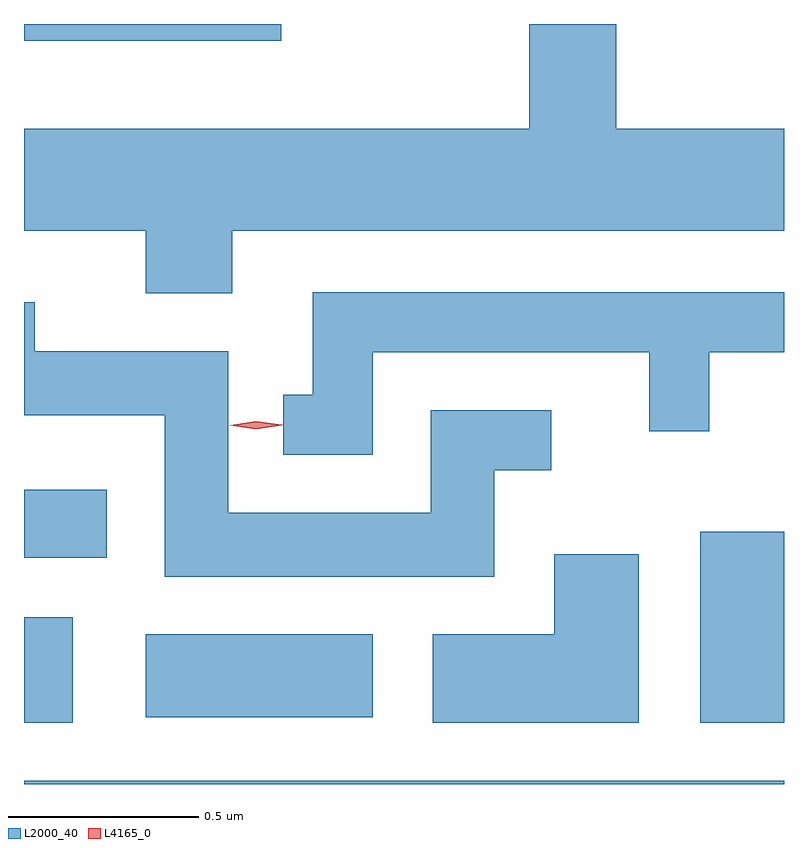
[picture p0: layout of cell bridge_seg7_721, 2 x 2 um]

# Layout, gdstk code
import gdstk
lib = gdstk.Library(unit=1e-6, precision=1e-09)
def R(c, l, rs):  # rectangles x0, y0, x1, y1
    for r in rs: c.add(gdstk.rectangle(r[:2], r[2:], *l))
def P(c, l, *ps):  # polygons
    for p in ps: c.add(gdstk.Polygon(p, *l))
L2000_40 = (2000, 40)
L4165_0 = (4165, 0)

bridge_seg7_721 = lib.new_cell('bridge_seg7_721')
R(bridge_seg7_721, L2000_40, [(857.251,1721.74,859.251,1721.749), (857.251,1721.901,857.379,1722.179), (859.031,1721.901,859.251,1722.404), (857.571,1721.916,858.169,1722.134), (857.251,1722.336,857.469,1722.514), (857.251,1723.696,857.928,1723.74)])
P(bridge_seg7_721, L2000_40, [(857.799,1723.196),(859.251,1723.196),(859.251,1723.464),(858.809,1723.464),(858.809,1723.74),(858.581,1723.74),(858.581,1723.464),(857.251,1723.464),(857.251,1723.196),(857.571,1723.196),(857.571,1723.031),(857.799,1723.031)],
  [(858.169,1722.876),(858.896,1722.876),(858.896,1722.668),(859.054,1722.668),(859.054,1722.876),(859.251,1722.876),(859.251,1723.034),(858.011,1723.034),(858.011,1722.764),(857.933,1722.764),(857.933,1722.606),(858.169,1722.606)],
  [(858.489,1722.566),(858.638,1722.566),(858.638,1722.724),(858.321,1722.724),(858.321,1722.454),(857.789,1722.454),(857.789,1722.879),(857.279,1722.879),(857.279,1723.008),(857.251,1723.008),(857.251,1722.711),(857.621,1722.711),(857.621,1722.286),(858.489,1722.286)],
  [(858.869,1722.344),(858.646,1722.344),(858.646,1722.134),(858.326,1722.134),(858.326,1721.901),(858.869,1721.901)])
P(bridge_seg7_721, L4165_0, [(857.861,1722.674),(857.792,1722.684),(857.792,1722.684),(857.792,1722.684),(857.861,1722.694),(857.931,1722.685),(857.931,1722.685),(857.931,1722.684)])

lib.write_gds('bridge_seg7_721.gds')
